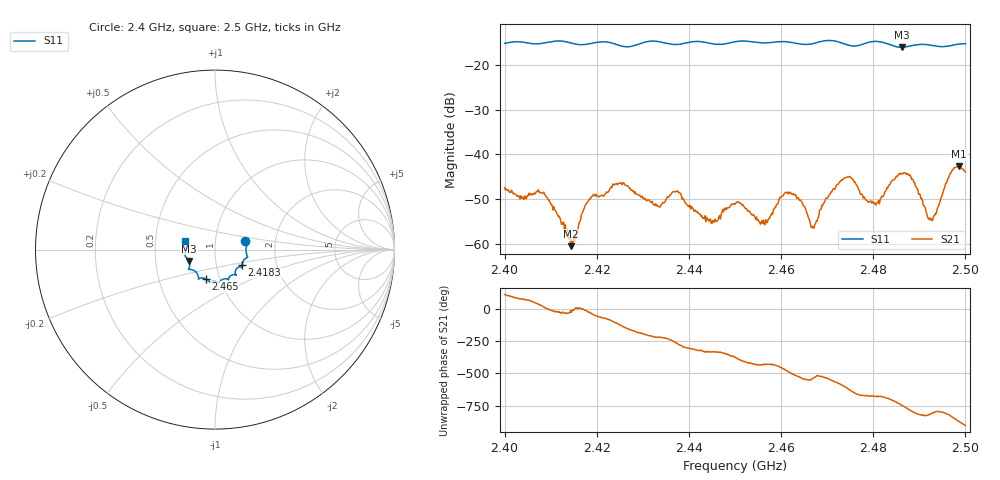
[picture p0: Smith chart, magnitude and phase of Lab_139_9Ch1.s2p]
# Hz S RI R 50
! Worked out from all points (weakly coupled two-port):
!   601 points, 2.4 GHz to 2.5 GHz, reference 50 ohm
!   highest |S21| = -42.64 dB at 2.4987 GHz (marker M1); lowest = -60.5 dB at 2.4143 GHz (marker M2)
!   lowest |S11| = -16.0 dB at 2.4862 GHz (marker M3), VSWR 1.38, Z = 37.1 - j4.82 ohm
!   |S11| at or under -10 dB: start of sweep to end of sweep
!   S12 and S22 are empty: the file has one direction only
!   S11 on the Smith chart (normalised r, x): 2.4 GHz: 1.40, +0.13; 2.4183 GHz: 1.33, -0.24; 2.465 GHz: 0.86, -0.29; 2.5 GHz: 0.71, +0.07
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2.4e9  0.169 0.0457  -0.00175 0.00385  0 0  0 0
2.408333e9  0.175 -0.0198  0.00347 0.00133  0 0  0 0
2.414333e9  0.1703 -0.0487  0.000926 -0.000163  0 0  0 0
2.416667e9  0.1549 -0.0683  0.00211 -2.34e-05  0 0  0 0
2.418333e9  0.1499 -0.0869  0.0029 -0.00113  0 0  0 0
2.425333e9  0.1313 -0.0976  -0.00297 -0.00381  0 0  0 0
2.433333e9  0.1169 -0.1412  -0.00203 0.00167  0 0  0 0
2.437667e9  0.0845 -0.1481  0.000253 0.00386  0 0  0 0
2.445333e9  0.0592 -0.1621  0.00157 0.000822  0 0  0 0
2.45e9  0.0251 -0.1808  0.00268 -0.000667  0 0  0 0
2.456e9  -0.00114 -0.1773  0.000469 -0.00162  0 0  0 0
2.461167e9  -0.0305 -0.1798  -0.00181 -0.00329  0 0  0 0
2.465e9  -0.0527 -0.1623  -0.00261 0.000219  0 0  0 0
2.466667e9  -0.0712 -0.1576  -0.00156 0.000114  0 0  0 0
2.473667e9  -0.0941 -0.1456  -0.00269 0.0047  0 0  0 0
2.480167e9  -0.1473 -0.1104  0.00206 0.00197  0 0  0 0
2.483333e9  -0.142 -0.096  0.00403 0.00191  0 0  0 0
2.486167e9  -0.1448 -0.0634  0.00547 -0.00276  0 0  0 0
2.4885e9  -0.1599 -0.0434  0.00117 -0.00516  0 0  0 0
2.4925e9  -0.1654 -0.0238  -9.27e-05 -0.00192  0 0  0 0
2.498667e9  -0.1674 0.0402  -0.00677 -0.00293  0 0  0 0
2.5e9  -0.167 0.0472  -0.00632 0.000554  0 0  0 0
